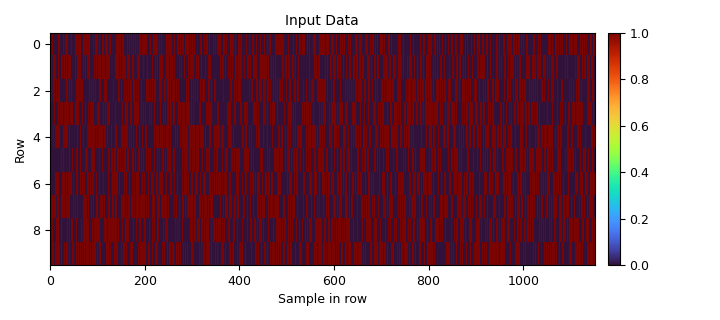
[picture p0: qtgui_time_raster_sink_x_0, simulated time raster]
<?xml version='1.0' encoding='utf-8'?>
<?grc format='1' created='3.7.12'?>
<flow_graph>
<block>
<key>options</key>
<param><key>id</key><value>top_block</value></param>
<param><key>generate_options</key><value>qt_gui</value></param>
</block>
<block>
<key>variable</key>
<param><key>id</key><value>base_ldpc_block_len</value></param>
<param><key>value</key><value>2304</value></param>
</block>
<block>
<key>variable</key>
<param><key>id</key><value>codeword_len</value></param>
<param><key>value</key><value>(z_factor / 96.0) * base_ldpc_block_len</value></param>
</block>
<block>
<key>variable</key>
<param><key>id</key><value>dataword_len</value></param>
<param><key>value</key><value>codeword_len * rate</value></param>
</block>
<block>
<key>variable</key>
<param><key>id</key><value>rate</value></param>
<param><key>value</key><value>1.0/2.0</value></param>
</block>
<block>
<key>variable</key>
<param><key>id</key><value>z_factor</value></param>
<param><key>value</key><value>96</value></param>
</block>
<block>
<key>blocks_message_strobe</key>
<param><key>id</key><value>blocks_message_strobe_0</value></param>
<param><key>msg</key><value>pmt.intern("TEST")</value></param>
<param><key>period</key><value>500</value></param>
</block>
<block>
<key>blocks_pdu_to_tagged_stream</key>
<param><key>id</key><value>blocks_pdu_to_tagged_stream_0</value></param>
<param><key>type</key><value>byte</value></param>
<param><key>tag</key><value>pdu_length</value></param>
</block>
<block>
<key>blocks_pdu_to_tagged_stream</key>
<param><key>id</key><value>blocks_pdu_to_tagged_stream_0_0</value></param>
<param><key>type</key><value>byte</value></param>
<param><key>tag</key><value>pdu_length</value></param>
</block>
<block>
<key>blocks_random_pdu</key>
<param><key>id</key><value>blocks_random_pdu_0</value></param>
<param><key>mask</key><value>0x01</value></param>
<param><key>length_modulo</key><value>2</value></param>
<param><key>maxsize</key><value>int(dataword_len)</value></param>
<param><key>minsize</key><value>int(dataword_len)</value></param>
</block>
<block>
<key>qtgui_time_raster_sink_x</key>
<param><key>id</key><value>qtgui_time_raster_sink_x_0</value></param>
<param><key>zmin</key><value>0</value></param>
<param><key>color1</key><value>2</value></param>
<param><key>name</key><value>"Input Data"</value></param>
<param><key>ncols</key><value>int(dataword_len)</value></param>
<param><key>nrows</key><value>10</value></param>
<param><key>samp_rate</key><value>1</value></param>
<param><key>type</key><value>byte</value></param>
</block>
<block>
<key>qtgui_time_raster_sink_x</key>
<param><key>id</key><value>qtgui_time_raster_sink_x_0_0</value></param>
<param><key>zmin</key><value>0</value></param>
<param><key>color1</key><value>2</value></param>
<param><key>name</key><value>"Ouput Data"</value></param>
<param><key>ncols</key><value>int(dataword_len)</value></param>
<param><key>nrows</key><value>10</value></param>
<param><key>samp_rate</key><value>1</value></param>
<param><key>type</key><value>byte</value></param>
</block>
<block>
<key>wimaxldpc_ldpc_decoder</key>
<param><key>id</key><value>wimaxldpc_ldpc_decoder_0</value></param>
<param><key>rate</key><value>0</value></param>
<param><key>max_iterations</key><value>10</value></param>
<param><key>num_threads</key><value>2</value></param>
<param><key>soft</key><value>False</value></param>
<param><key>z</key><value>96</value></param>
</block>
<block>
<key>wimaxldpc_ldpc_encoder</key>
<param><key>id</key><value>wimaxldpc_ldpc_encoder_0</value></param>
<param><key>rate</key><value>0</value></param>
<param><key>num_threads</key><value>1</value></param>
<param><key>z</key><value>z_factor</value></param>
</block>
<connection><source_block_id>blocks_message_strobe_0</source_block_id><sink_block_id>blocks_random_pdu_0</sink_block_id><source_key>strobe</source_key><sink_key>generate</sink_key></connection>
<connection><source_block_id>blocks_pdu_to_tagged_stream_0</source_block_id><sink_block_id>qtgui_time_raster_sink_x_0</sink_block_id><source_key>0</source_key><sink_key>0</sink_key></connection>
<connection><source_block_id>blocks_pdu_to_tagged_stream_0_0</source_block_id><sink_block_id>qtgui_time_raster_sink_x_0_0</sink_block_id><source_key>0</source_key><sink_key>0</sink_key></connection>
<connection><source_block_id>blocks_random_pdu_0</source_block_id><sink_block_id>blocks_pdu_to_tagged_stream_0</sink_block_id><source_key>pdus</source_key><sink_key>pdus</sink_key></connection>
<connection><source_block_id>blocks_random_pdu_0</source_block_id><sink_block_id>wimaxldpc_ldpc_encoder_0</sink_block_id><source_key>pdus</source_key><sink_key>in</sink_key></connection>
<connection><source_block_id>wimaxldpc_ldpc_decoder_0</source_block_id><sink_block_id>blocks_pdu_to_tagged_stream_0_0</sink_block_id><source_key>out</source_key><sink_key>pdus</sink_key></connection>
<connection><source_block_id>wimaxldpc_ldpc_encoder_0</source_block_id><sink_block_id>wimaxldpc_ldpc_decoder_0</sink_block_id><source_key>out</source_key><sink_key>in</sink_key></connection>
</flow_graph>
